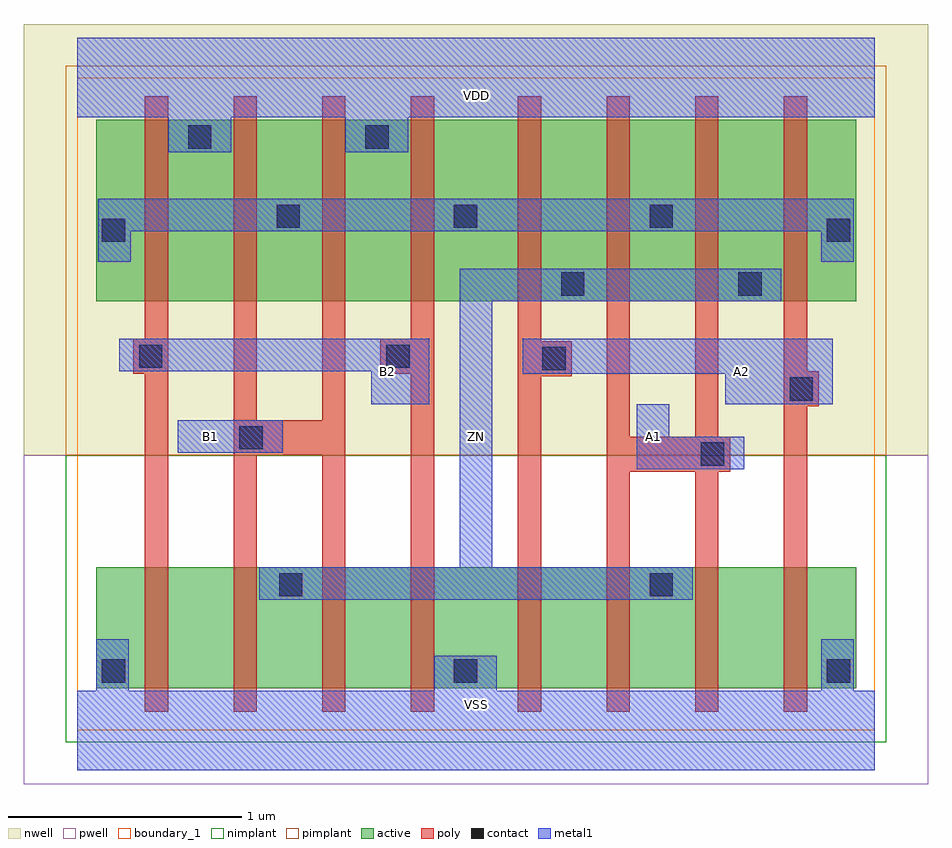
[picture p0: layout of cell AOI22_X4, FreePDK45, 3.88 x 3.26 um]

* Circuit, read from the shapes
.subckt AOI22_X4 A1 A2 B1 B2 VDD VSS ZN
M1 n1 B2 VSS VSUBS nfet w=0.52u l=0.1u
M2 ZN B1 n1 VSUBS nfet w=0.52u l=0.1u
M3 n2 B1 ZN VSUBS nfet w=0.52u l=0.1u
M4 VSS B2 n2 VSUBS nfet w=0.52u l=0.1u
M5 n3 A2 VSS VSUBS nfet w=0.52u l=0.1u
M6 ZN A1 n3 VSUBS nfet w=0.52u l=0.1u
M7 n4 A1 ZN VSUBS nfet w=0.52u l=0.1u
M8 VSS A2 n4 VSUBS nfet w=0.52u l=0.1u
M9 VDD B2 n5 n6 pfet w=0.78u l=0.1u m=2
M10 n5 B1 VDD n6 pfet w=0.78u l=0.1u m=2
M11 ZN A2 n5 n6 pfet w=0.78u l=0.1u m=2
M12 n5 A1 ZN n6 pfet w=0.78u l=0.1u m=2
.ends

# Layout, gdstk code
import gdstk
lib = gdstk.Library(unit=1e-6, precision=1e-09)
def R(c, l, rs):  # rectangles x0, y0, x1, y1
    for r in rs: c.add(gdstk.rectangle(r[:2], r[2:], *l))
def P(c, l, *ps):  # polygons
    for p in ps: c.add(gdstk.Polygon(p, *l))
active = (1, 0)
pwell = (2, 0)
nwell = (3, 0)
nimplant = (4, 0)
pimplant = (5, 0)
poly = (9, 0)
contact = (10, 0)
metal1 = (11, 0)
boundary_1 = (235, 1)

aoi22_x4 = lib.new_cell('AOI22_X4')
R(aoi22_x4, active, [(0.08,0.18,3.34,0.7), (0.08,1.84,3.34,2.62)])
R(aoi22_x4, pwell, [(-0.23,-0.23,3.65,1.18)])
R(aoi22_x4, nwell, [(-0.23,1.18,3.65,3.03)])
R(aoi22_x4, nimplant, [(-0.05,-0.05,3.47,1.18)])
R(aoi22_x4, pimplant, [(-0.05,1.18,3.47,2.85)])
P(aoi22_x4, poly, [(3.03,0.08),(3.13,0.08),(3.13,1.39),(3.18,1.39),(3.18,1.54),(3.13,1.54),(3.13,2.72),(3.03,2.72)],
  [(2.27,0.08),(2.37,0.08),(2.37,1.11),(2.65,1.11),(2.65,0.08),(2.75,0.08),(2.75,1.11),(2.8,1.11),(2.8,1.26),(2.75,1.26),(2.75,2.72),(2.65,2.72),(2.65,1.26),(2.37,1.26),(2.37,2.72),(2.27,2.72)],
  [(1.89,0.08),(1.99,0.08),(1.99,1.52),(2.12,1.52),(2.12,1.67),(1.99,1.67),(1.99,2.72),(1.89,2.72)],
  [(1.3,1.53),(1.43,1.53),(1.43,0.08),(1.53,0.08),(1.53,2.72),(1.43,2.72),(1.43,1.68),(1.3,1.68)],
  [(0.67,0.08),(0.77,0.08),(0.77,1.18),(1.05,1.18),(1.05,0.08),(1.15,0.08),(1.15,2.72),(1.05,2.72),(1.05,1.33),(0.77,1.33),(0.77,2.72),(0.67,2.72)],
  [(0.24,1.53),(0.29,1.53),(0.29,0.08),(0.39,0.08),(0.39,2.72),(0.29,2.72),(0.29,1.68),(0.24,1.68)])
R(aoi22_x4, contact, [(0.105,0.205,0.205,0.305), (1.615,0.205,1.715,0.305), (3.215,0.205,3.315,0.305), (0.865,0.575,0.965,0.675), (2.455,0.575,2.555,0.675), (2.675,1.135,2.775,1.235), (0.695,1.205,0.795,1.305), (3.055,1.415,3.155,1.515), (1.995,1.545,2.095,1.645), (0.265,1.555,0.365,1.655), (1.325,1.555,1.425,1.655), (2.075,1.865,2.175,1.965), (2.835,1.865,2.935,1.965), (0.105,2.095,0.205,2.195), (3.215,2.095,3.315,2.195), (0.855,2.155,0.955,2.255), (1.615,2.155,1.715,2.255), (2.455,2.155,2.555,2.255), (0.475,2.495,0.575,2.595), (1.235,2.495,1.335,2.595)])
R(aoi22_x4, metal1, [(0.43,1.19,0.88,1.33), (0.43,1.19,0.88,1.33)])
P(aoi22_x4, metal1, [(1.78,1.84),(3.02,1.84),(3.02,1.98),(1.64,1.98),(1.64,0.7),(0.78,0.7),(0.78,0.56),(2.64,0.56),(2.64,0.7),(1.78,0.7)],
  [(1.91,1.53),(2.78,1.53),(2.78,1.4),(3.24,1.4),(3.24,1.68),(1.91,1.68)],
  [(0.18,1.54),(1.26,1.54),(1.26,1.4),(1.51,1.4),(1.51,1.68),(0.18,1.68)],
  [(0,-0.17),(3.42,-0.17),(3.42,0.17),(3.33,0.17),(3.33,0.39),(3.19,0.39),(3.19,0.17),(1.8,0.17),(1.8,0.32),(1.53,0.32),(1.53,0.17),(0.22,0.17),(0.22,0.39),(0.08,0.39),(0.08,0.17),(0,0.17)],
  [(2.4,1.12),(2.86,1.12),(2.86,1.26),(2.54,1.26),(2.54,1.4),(2.4,1.4)],
  [(0,2.63),(0.39,2.63),(0.39,2.48),(0.66,2.48),(0.66,2.63),(1.15,2.63),(1.15,2.48),(1.42,2.48),(1.42,2.63),(3.42,2.63),(3.42,2.97),(0,2.97)],
  [(0,2.63),(0.39,2.63),(0.39,2.48),(0.66,2.48),(0.66,2.63),(1.15,2.63),(1.15,2.48),(1.42,2.48),(1.42,2.63),(3.42,2.63),(3.42,2.97),(0,2.97)],
  [(0,-0.17),(3.42,-0.17),(3.42,0.17),(3.33,0.17),(3.33,0.39),(3.19,0.39),(3.19,0.17),(1.8,0.17),(1.8,0.32),(1.53,0.32),(1.53,0.17),(0.22,0.17),(0.22,0.39),(0.08,0.39),(0.08,0.17),(0,0.17)],
  [(0.09,2.01),(0.23,2.01),(0.23,2.14),(3.19,2.14),(3.19,2.01),(3.33,2.01),(3.33,2.28),(0.09,2.28)],
  [(1.91,1.53),(2.78,1.53),(2.78,1.4),(3.24,1.4),(3.24,1.68),(1.91,1.68)],
  [(1.78,1.84),(3.02,1.84),(3.02,1.98),(1.64,1.98),(1.64,0.7),(0.78,0.7),(0.78,0.56),(2.64,0.56),(2.64,0.7),(1.78,0.7)],
  [(2.4,1.12),(2.86,1.12),(2.86,1.26),(2.54,1.26),(2.54,1.4),(2.4,1.4)],
  [(0.18,1.54),(1.26,1.54),(1.26,1.4),(1.51,1.4),(1.51,1.68),(0.18,1.68)])
R(aoi22_x4, boundary_1, [(0,0,3.42,2.8)])
aoi22_x4.add(gdstk.Label('ZN', (1.71,1.26), layer=11, texttype=0))
aoi22_x4.add(gdstk.Label('VSS', (1.71,0.11), layer=11, texttype=0))
aoi22_x4.add(gdstk.Label('VDD', (1.71,2.725), layer=11, texttype=0))
aoi22_x4.add(gdstk.Label('B2', (1.33,1.54), layer=11, texttype=0))
aoi22_x4.add(gdstk.Label('B1', (0.57,1.26), layer=11, texttype=0))
aoi22_x4.add(gdstk.Label('A2', (2.85,1.54), layer=11, texttype=0))
aoi22_x4.add(gdstk.Label('A1', (2.47,1.26), layer=11, texttype=0))

lib.write_gds('AOI22_X4.gds')
